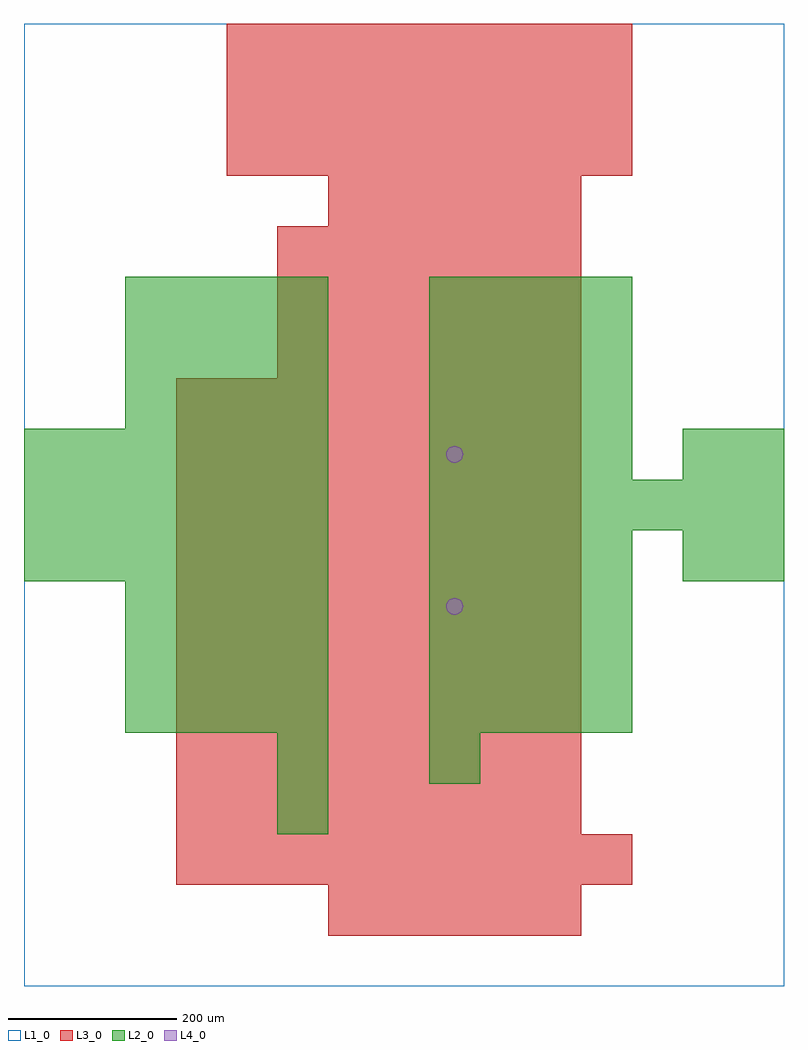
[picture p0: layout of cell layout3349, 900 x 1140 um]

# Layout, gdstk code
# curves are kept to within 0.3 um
import gdstk
lib = gdstk.Library(unit=1e-6, precision=1e-09)
def R(c, l, rs):  # rectangles x0, y0, x1, y1
    for r in rs: c.add(gdstk.rectangle(r[:2], r[2:], *l))
def A(c, l, x, y, w, h, nx, ny, dx, dy):  # array of equal rectangles
    R(c, l, [(x+i*dx, y+j*dy, x+i*dx+w, y+j*dy+h) for i in range(nx) for j in range(ny)])
def P(c, l, *ps):  # polygons
    for p in ps: c.add(gdstk.Polygon(p, *l))
L1_0 = (1, 0)
L2_0 = (2, 0)
L3_0 = (3, 0)
L4_0 = (4, 0)

layout3349 = lib.new_cell('layout3349')
R(layout3349, L1_0, [(0,0,900,1140)])
A(layout3349, L2_0, 120, 300, 60, 60, 4, 3, 60, 60)
A(layout3349, L2_0, 480, 300, 60, 60, 4, 4, 60, 60)
A(layout3349, L2_0, 0, 480, 60, 60, 6, 3, 60, 60)
A(layout3349, L2_0, 480, 540, 60, 60, 7, 1, 60, 0)
A(layout3349, L2_0, 480, 600, 60, 60, 4, 4, 60, 60)
A(layout3349, L2_0, 120, 660, 60, 60, 4, 3, 60, 60)
R(layout3349, L2_0, [(300,180,360,240), (300,240,360,300), (480,240,540,300), (780,480,840,540), (840,480,900,540), (780,600,840,660), (840,600,900,660)])
A(layout3349, L3_0, 360, 60, 60, 60, 5, 2, 60, 840)
A(layout3349, L3_0, 180, 120, 60, 60, 9, 1, 60, 0)
A(layout3349, L3_0, 180, 180, 60, 60, 8, 9, 60, 60)
A(layout3349, L3_0, 300, 720, 60, 60, 6, 3, 60, 60)
A(layout3349, L3_0, 240, 960, 60, 60, 8, 3, 60, 60)
P(layout3349, L4_0, [(520,450),(519.239,453.827),(517.071,457.071),(513.827,459.239),(510,460),(506.173,459.239),(502.929,457.071),(500.761,453.827),(500,450),(500.761,446.173),(502.929,442.929),(506.173,440.761),(510,440),(513.827,440.761),(517.071,442.929),(519.239,446.173)],
  [(520,630),(519.239,633.827),(517.071,637.071),(513.827,639.239),(510,640),(506.173,639.239),(502.929,637.071),(500.761,633.827),(500,630),(500.761,626.173),(502.929,622.929),(506.173,620.761),(510,620),(513.827,620.761),(517.071,622.929),(519.239,626.173)])

lib.write_gds('layout3349.gds')
